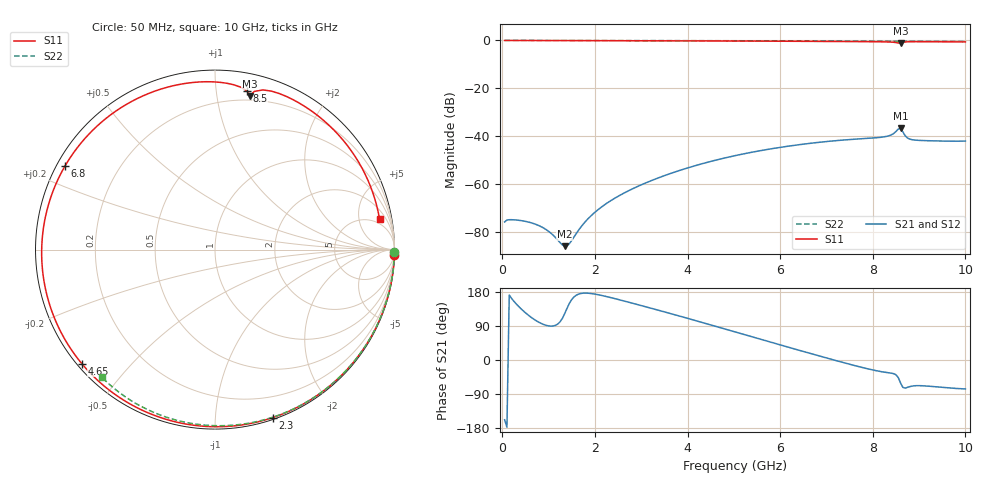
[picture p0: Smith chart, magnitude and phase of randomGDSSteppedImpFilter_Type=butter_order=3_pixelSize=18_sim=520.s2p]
! freq	dB(S11)	phase(S11)	dB(S12)	phase(S12)
!  dB(S21)	phase(S21)	dB(S22)	phase(S22)
!S-par simulation data
#  GHz  S  DB  R 50
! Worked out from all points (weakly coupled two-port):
!   200 points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, 50 MHz to 10 GHz, reference 50 ohm
!   highest |S21| = -36.71 dB at 8.6 GHz (marker M1); lowest = -85.8 dB at 1.35 GHz (marker M2)
!   lowest |S11| = -1.1 dB at 8.6 GHz (marker M3), VSWR 15.46, Z = 8.26 + j62 ohm
!   |S11| at or under -10 dB: nowhere
!   |S22| runs from -0.4 to 0.0 dB; largest |S21 - S12| = 0
!   S11 on the Smith chart (normalised r, x): 50 MHz: 0, -72; 2.3 GHz: 0.02, -1.40; 4.65 GHz: 0.01, -0.37; 6.8 GHz: 0.02, +0.26; 8.5 GHz: 0.13, +1.21; 10 GHz: 4, +10
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0.05  -0.00 -1.6  -75.74 -157.7  -75.74 -157.7  -0.00 -0.8
0.45  -0.01 -14.3  -75.31 129.9  -75.31 129.9  -0.01 -6.9
1.05  -0.04 -33.0  -80.43 89.4  -80.43 89.4  -0.02 -15.9
1.35  -0.05 -42.3  -85.84 123.1  -85.84 123.1  -0.03 -20.4
1.6  -0.06 -49.9  -80.49 171.2  -80.49 171.2  -0.03 -24.1
1.75  -0.07 -54.4  -76.58 176.4  -76.58 176.4  -0.03 -26.3
2.3  -0.09 -70.9  -67.38 166.0  -67.38 166.0  -0.04 -34.3
3.4  -0.13 -103.1  -57.12 130.4  -57.12 130.4  -0.07 -50.0
4  -0.16 -120.4  -53.20 110.0  -53.20 110.0  -0.08 -58.3
4.65  -0.20 -139.4  -49.75 87.3  -49.75 87.3  -0.10 -67.1
5.05  -0.23 -151.3  -47.97 73.2  -47.97 73.2  -0.11 -72.4
5.9  -0.30 -177.9  -44.92 43.3  -44.92 43.3  -0.14 -83.3
6.7  -0.37 154.5  -42.80 15.7  -42.80 15.7  -0.18 -93.2
6.8  -0.38 150.9  -42.59 12.2  -42.59 12.2  -0.19 -94.5
7.7  -0.48 115.2  -41.09 -17.6  -41.09 -17.6  -0.24 -105.2
8.35  -0.64 85.9  -39.76 -33.9  -39.76 -33.9  -0.29 -112.8
8.5  -0.89 78.7  -38.00 -38.9  -38.00 -38.9  -0.30 -114.6
8.6  -1.13 77.2  -36.71 -60.7  -36.71 -60.7  -0.31 -115.7
8.7  -0.64 73.3  -39.76 -74.1  -39.76 -74.1  -0.31 -116.9
8.85  -0.52 65.0  -41.42 -68.9  -41.42 -68.9  -0.33 -118.6
9.45  -0.56 35.8  -41.97 -71.8  -41.97 -71.8  -0.39 -125.4
10  -0.61 10.4  -41.97 -76.4  -41.97 -76.4  -0.44 -131.6
